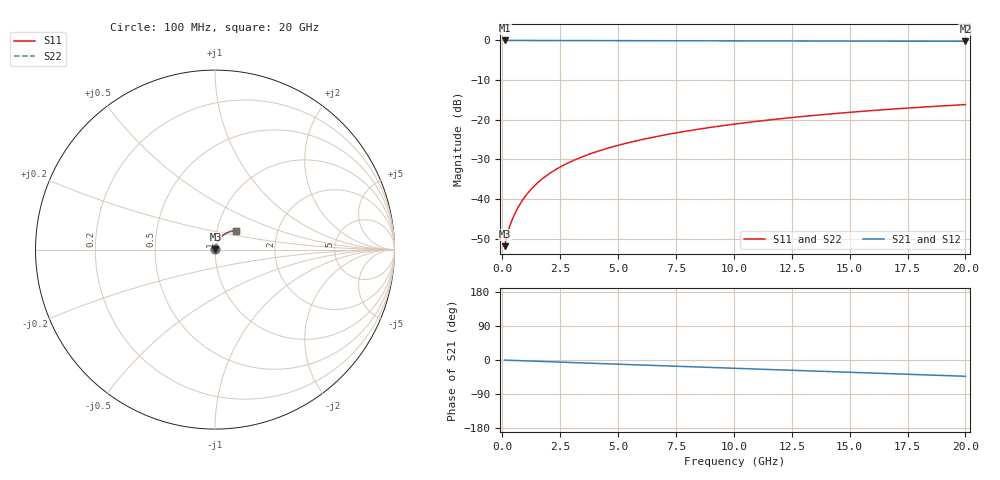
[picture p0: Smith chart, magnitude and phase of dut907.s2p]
! Touchstone file exported from HFSS 2026.1.0
!  File:  C:/ffzhzh/LocalFiles/Ansys_Project_Files/temp_train_TMRDL_907_1783157909_51560.aedt
!  Generated:  05:39:41 PM Jul  4, 2026
!  Design:  TMRDL
!  Project:  temp_train_TMRDL_907_1783157909_51560
! Variables:
!  h_bsmrdl = 2um
!  h_ox = 20um
!  h_rdl = 5um
!  h_sub = 80um
!  h_tmrdl = 5.32um
!  h_tsv = 80um
!  h_via = 3um
!  l_bsmrdl = 300um
!  l_sub = 1143.04um
!  l_tmrdl = 743.04um
!  m_sub = 200um
!  pitch = 38.04um
!  r_tsv = 6um
!  s_tmrdl = 10um
!  w_bsmrdl = 18um
!  w_sub = 500um
!  w_tmrdl = 27.31um
!  x_tsv_center1 = 756.695um
!  x_tsv_center2 = 1074.695um
!  x_tsv_center3 = 1845.045um
!  x_tsv_center4 = 2163.045um
!  x_tsv_center5 = 2933.395um
!  x_tsv_center6 = 3251.395um
# GHz S MA R 50.000000
! Terminal data exported
! Port[1] = TM_RDL1_1_T1
! Port[2] = TM_RDL1_1_T2
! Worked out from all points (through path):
!   200 points, 100 MHz to 20 GHz, reference 50 ohm
!   highest |S21| = -0.02 dB at 100 MHz (marker M1); lowest = -0.2 dB at 20 GHz (marker M2)
!   group delay of S21, straight-line fit = 5.95 ps
!   lowest |S11| = -51.9 dB at 100 MHz (marker M3), VSWR 1.01, Z = 50.2 + j0.141 ohm
!   |S11| at or under -10 dB: start of sweep to end of sweep
!   |S22| runs from -51.9 to -16.2 dB; largest |S21 - S12| = 4e-15
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0.1  0.00254 33.5  0.9979 -0.2  0.9979 -0.2  0.00254 33.5
! Gamma 0 0 0 0
! Port Impedance 50 0 50 0
0.2  0.003487 45.9  0.9976 -0.5  0.9976 -0.5  0.003487 45.9
0.3  0.004368 52.8  0.9974 -0.7  0.9974 -0.7  0.004368 52.8
0.4  0.00524 57.9  0.9973 -0.9  0.9973 -0.9  0.00524 57.9
0.5  0.006132 61.7  0.9972 -1.1  0.9972 -1.1  0.006132 61.7
0.6  0.007049 64.6  0.9971 -1.4  0.9971 -1.4  0.007049 64.6
0.8  0.008937 68.6  0.997 -1.8  0.997 -1.8  0.008937 68.6
1  0.01087 71.0  0.9968 -2.3  0.9968 -2.3  0.01087 71.0
1.2  0.01281 72.5  0.9966 -2.7  0.9966 -2.7  0.01281 72.5
1.4  0.01477 73.4  0.9965 -3.2  0.9965 -3.2  0.01477 73.4
1.7  0.01768 74.1  0.9962 -3.8  0.9962 -3.8  0.01768 74.1
2.2  0.02247 74.3  0.9956 -4.9  0.9956 -4.9  0.02247 74.3
2.8  0.02808 73.9  0.9948 -6.3  0.9948 -6.3  0.02808 73.9
3.5  0.03444 73.0  0.9939 -7.8  0.9939 -7.8  0.03444 73.0
4.2  0.04061 71.9  0.993 -9.3  0.993 -9.3  0.04061 71.9
5  0.0475 70.6  0.992 -11.1  0.992 -11.1  0.0475 70.6
6.8  0.06247 67.5  0.9898 -15.0  0.9898 -15.0  0.06247 67.5
8.3  0.07452 64.8  0.988 -18.2  0.988 -18.2  0.07452 64.8
10.1  0.08851 61.4  0.9859 -22.0  0.9859 -22.0  0.08851 61.4
13.4  0.1128 55.2  0.982 -29.0  0.982 -29.0  0.1128 55.2
16.7  0.135 48.7  0.978 -36.0  0.978 -36.0  0.135 48.7
20  0.1549 42.2  0.9741 -43.0  0.9741 -43.0  0.1549 42.2
